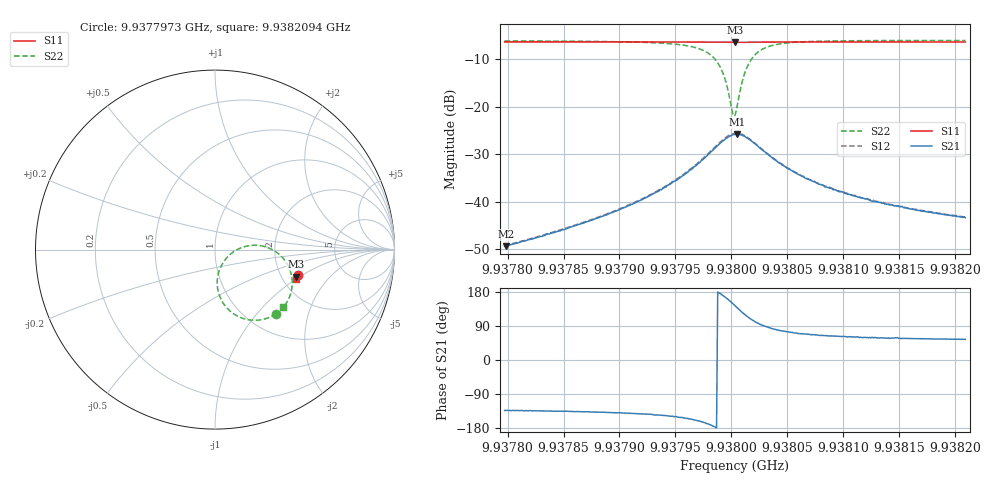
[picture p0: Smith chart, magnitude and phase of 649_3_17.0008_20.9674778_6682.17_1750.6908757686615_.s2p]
#  HZ  S  RI  R  50.00
! Rohde & Schwarz Vector Network Analyzer
! Rohde-Schwarz,ZNB20-2Port,1311601062101988,3.16
! Created: UTC 3/20/2024, 11:21:10 PM
! freq[Hz]  re:S11  im:S11  re:S21  im:S21  re:S12  im:S12  re:S22  im:S22
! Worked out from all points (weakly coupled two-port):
!   401 points, 9.9377973 GHz to 9.9382094 GHz, reference 50 ohm
!   highest |S21| = -25.81 dB at 9.9380054 GHz (marker M1); lowest = -49.4 dB at 9.9377983 GHz (marker M2)
!   lowest |S11| = -6.5 dB at 9.9380034 GHz (marker M3), VSWR 2.81, Z = 119 - j46.5 ohm
!   |S11| at or under -10 dB: nowhere
!   |S22| runs from -22.0 to -6.1 dB; largest |S21 - S12| = 0.0024
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9.93779729e9  0.4604 -0.141  -0.00232 -0.00248  -0.00237 -0.00246  0.341 -0.3561
9.93779832e9  0.4604 -0.141  -0.00232 -0.00248  -0.0024 -0.00248  0.3408 -0.3563
9.93786632e9  0.4583 -0.1458  -0.00425 -0.00405  -0.0044 -0.00404  0.3195 -0.3691
9.93790445e9  0.4572 -0.1485  -0.00663 -0.00555  -0.00684 -0.00558  0.2965 -0.38
9.93793535e9  0.456 -0.1507  -0.0106 -0.00734  -0.011 -0.00742  0.2597 -0.3904
9.93796626e9  0.4541 -0.1533  -0.0214 -0.00864  -0.0217 -0.00871  0.172 -0.388
9.93798275e9  0.452 -0.154  -0.0338 -0.00424  -0.0348 -0.00381  0.0738 -0.3329
9.9379879e9  0.4511 -0.1539  -0.039 0.000362  -0.04 0.00134  0.0386 -0.287
9.93799202e9  0.4504 -0.1536  -0.0427 0.00634  -0.0436 0.00764  0.0182 -0.2334
9.93799614e9  0.4498 -0.1531  -0.0446 0.0141  -0.0457 0.0159  0.0132 -0.165
9.93800129e9  0.4497 -0.1519  -0.0435 0.0259  -0.0435 0.028  0.045 -0.0724
9.93800335e9  0.4497 -0.1515  -0.0409 0.0303  -0.041 0.0328  0.0711 -0.0394
9.93800541e9  0.45 -0.151  -0.0377 0.0346  -0.0375 0.0366  0.103 -0.0125
9.93800954e9  0.4507 -0.1504  -0.0298 0.0402  -0.029 0.0422  0.178 0.0197
9.93801263e9  0.4512 -0.1502  -0.0229 0.0423  -0.022 0.0438  0.2344 0.0238
9.93801675e9  0.4522 -0.1502  -0.0149 0.0422  -0.0138 0.0432  0.2992 0.00903
9.93802293e9  0.4532 -0.1509  -0.00571 0.0386  -0.00461 0.0393  0.3658 -0.0338
9.93803941e9  0.4542 -0.1532  0.00432 0.0271  0.00512 0.0272  0.4263 -0.1431
9.93807238e9  0.4539 -0.1565  0.00659 0.0152  0.00688 0.0151  0.4227 -0.2418
9.93810329e9  0.4532 -0.159  0.00578 0.0106  0.00616 0.0106  0.4092 -0.2776
9.93814141e9  0.4521 -0.1618  0.00503 0.00773  0.00513 0.00787  0.3963 -0.3
9.93820941e9  0.45 -0.1666  0.00393 0.00553  0.00411 0.00552  0.3816 -0.3199
